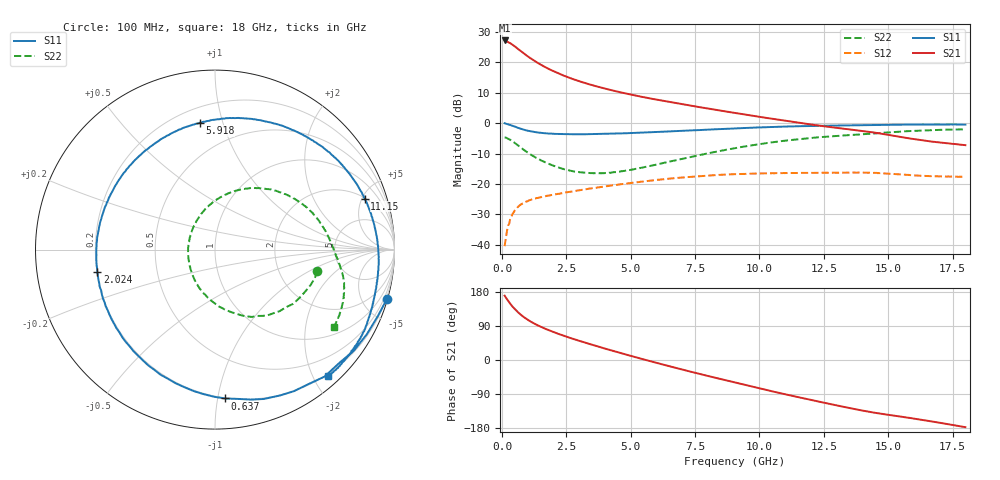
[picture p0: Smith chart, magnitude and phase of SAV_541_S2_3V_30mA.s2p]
! Data provided by Modelithics, Inc.  Tampa, Florida USA, June 2008
!Model SAV-541+
!VAR V_out= 3
!VAR I_out= 30
!VAR V_in= 0.3772
!VAR I_in= 0.8792
!BEGIN ACDATA
# GHZ S MA R 50
! Scattering Parameters
!% F n11x n11y n21x n21y n12x n12y n22x n22y
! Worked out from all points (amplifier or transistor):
!   401 points, 100 MHz to 18 GHz, reference 50 ohm
!   highest |S21| = 27.2 dB at 100 MHz (marker M1)
!   |S21| within 3 dB of that: start of sweep to 653 MHz
!   unconditionally stable (mu >= 1): 4.114 GHz to 10.51 GHz
!   at 3.054 GHz: K = 0.88, MSG = 17.9 dB, |S12| = -22.1 dB
!   at 9.05 GHz: K = 1.05, MAG = 8.8 dB, |S12| = -16.8 dB
!   at 18 GHz: K = 0.89, MSG = 5.2 dB, |S12| = -17.7 dB
!   lowest NFmin = 0.08 dB at 500 MHz
!   S11 on the Smith chart (normalised r, x): 100 MHz: 0.10, -7.06; 637 MHz: 0.20, -1.05; 2.024 GHz: 0.20, -0.09; 5.918 GHz: 0.29, +0.84; 11.15 GHz: 2.06, +5.25; 18 GHz: 0.17, -2.23
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0.1  0.9962 -16.1  22.99 169.9  0.00942 80.2  0.5819 -11.8
0.1895  0.9684 -29.2  21.99 160.6  0.01653 75.0  0.5678 -20.4
0.279  0.9376 -42.2  21.07 151.9  0.0222 68.3  0.5419 -29.9
0.3685  0.9125 -55.2  20.07 144.0  0.02937 62.1  0.5095 -39.1
0.50275  0.8757 -71.9  18.27 133.8  0.03698 53.3  0.4692 -51.2
0.637  0.8315 -86.1  16.48 124.8  0.04251 48.5  0.4283 -61.2
0.77125  0.7971 -98.5  14.87 117.2  0.04685 43.7  0.3855 -69.8
0.9055  0.7668 -109.6  13.46 110.4  0.05037 40.1  0.3499 -77.7
1.174  0.7257 -128.7  11.2 99.1  0.05607 33.6  0.2933 -91.9
1.532  0.6909 -148.3  9.044 86.8  0.06072 28.5  0.2413 -107.8
2.02425  0.668 -169.1  7.084 73.1  0.06666 23.9  0.1973 -127.0
2.47175  0.6591 175.7  5.889 62.2  0.07235 20.3  0.1721 -143.1
3.09825  0.6556 157.6  4.751 48.5  0.07971 16.3  0.1539 -165.0
4.396  0.673 126.8  3.372 22.4  0.09524 6.0  0.1561 153.2
5.9175  0.712 96.9  2.476 -6.0  0.1149 -8.2  0.2042 114.9
6.0965  0.7176 93.7  2.399 -9.1  0.1167 -10.0  0.2128 111.4
7.439  0.762 71.3  1.904 -32.7  0.1317 -24.1  0.284 86.6
9.05  0.8167 47.4  1.47 -59.5  0.1441 -41.9  0.3872 61.7
11.15325  0.8813 18.8  1.069 -92.8  0.1513 -66.2  0.5223 33.1
12.04825  0.8987 7.9  0.9433 -106.0  0.1515 -76.3  0.5721 22.4
15.0465  0.9363 -23.2  0.6373 -145.0  0.1469 -106.7  0.7049 -7.9
18  0.9446 -48.2  0.4335 -177.3  0.1305 -131.4  0.7896 -33.1
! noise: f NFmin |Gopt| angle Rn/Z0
0.5  0.076  0.3342  41.65  0.056
0.7  0.107  0.3406  50.02  0.051
0.9  0.138  0.3471  58.35  0.046
1  0.154  0.3503  62.5  0.044
1.9  0.294  0.3798  99.47  0.033
2.4  0.371  0.3964  119.7  0.032
3  0.465  0.4166  143.7  0.036
3.9  0.604  0.4473  179.1  0.054
5  0.775  0.4855  -138.6  0.092
6  0.93  0.521  -101.1  0.144
